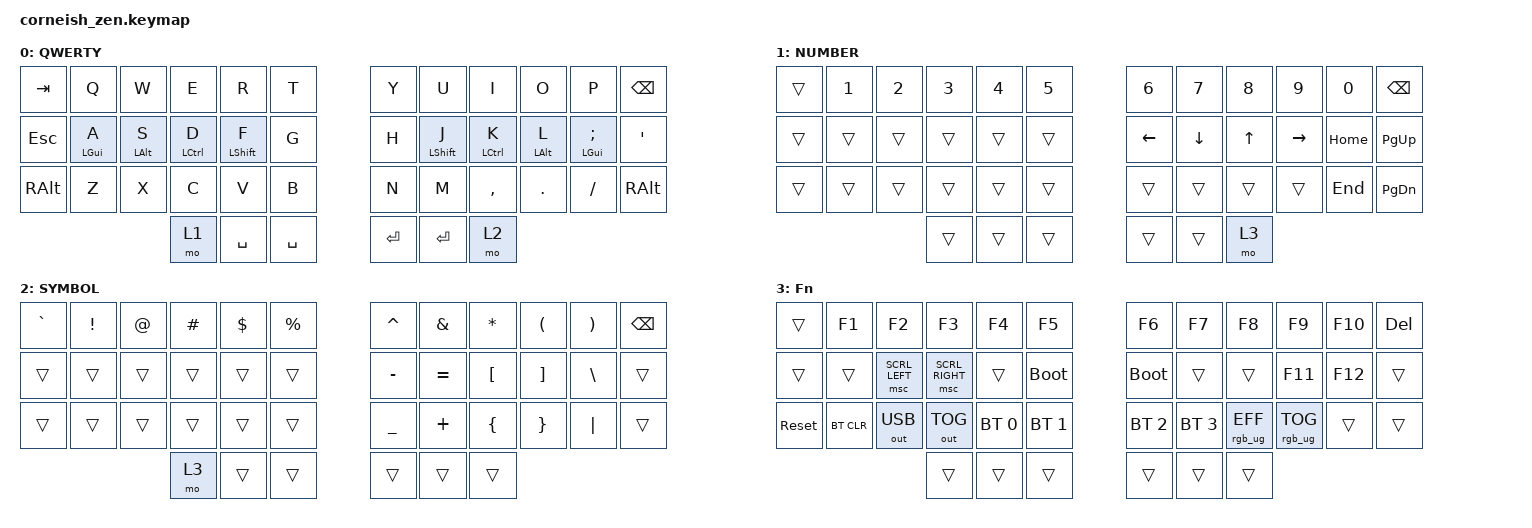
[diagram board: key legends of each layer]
/*
 * Copyright (c) 2020 The ZMK Contributors
 *
 * SPDX-License-Identifier: MIT
 */

#include <behaviors.dtsi>
#include <dt-bindings/zmk/bt.h>
#include <dt-bindings/zmk/keys.h>
#include <dt-bindings/zmk/outputs.h>
#include <dt-bindings/zmk/pointing.h>
#include <dt-bindings/zmk/rgb.h>

/ {
    chosen {
        zmk,matrix_transform = &default_transform;

        // zmk,matrix_transform = &five_column_transform;
    };
};

/ {
    behaviors {
        td0: td0 {
            compatible = "zmk,behavior-tap-dance";
            label = "TD0";
            #binding-cells = <0>;
            bindings = <&kp LEFT_SHIFT>, <&kp CAPS>;
        };

        mt_custom: mt_custom {
            compatible = "zmk,behavior-hold-tap";
            label = "Mod/Tap (Tap Preferred)";
            bindings = <&kp>, <&kp>;

            #binding-cells = <2>;
            tapping-term-ms = <200>;
            quick-tap-ms = <120>;
            flavor = "tap-preferred";
        };
    };

    keymap {
        compatible = "zmk,keymap";

        default_layer {
            display-name = "QWERTY";

            // --------------------------------------------------------------------------------
            // |  TAB |  Q  |  W  |  E  |  R  |  T  |   |  Y  |  U   |  I  |  O  |  P  | BKSP |
            // | CTRL |  A  |  S  |  D  |  F  |  G  |   |  H  |  J   |  K  |  L  |  ;  |  '   | 
            // | SHFT |  Z  |  X  |  C  |  V  |  B  |   |  N  |  M   |  ,  |  .  |  /  | ESC  |
            //                    | GUI | LWR | SPC |   | ENT | RSE  | ALT |

            bindings = <
&kp TAB        &kp Q                  &kp W                  &kp E                      &kp R                    &kp T        &kp Y      &kp U                    &kp I                      &kp O                  &kp P                     &kp BSPC
&kp ESC        &mt_custom LEFT_GUI A  &mt_custom LEFT_ALT S  &mt_custom LEFT_CONTROL D  &mt_custom LEFT_SHIFT F  &kp G        &kp H      &mt_custom LEFT_SHIFT J  &mt_custom LEFT_CONTROL K  &mt_custom LEFT_ALT L  &mt_custom LEFT_GUI SEMI  &kp SINGLE_QUOTE
&kp RIGHT_ALT  &kp Z                  &kp X                  &kp C                      &kp V                    &kp B        &kp N      &kp M                    &kp COMMA                  &kp DOT                &kp FSLH                  &kp RIGHT_ALT
                                                             &mo 1                      &kp SPACE                &kp SPACE    &kp ENTER  &kp ENTER                &mo 2
            >;
        };

        lower_layer {
            display-name = "NUMBER";

            // -----------------------------------------------------------------------------------------
            // |  TAB |  1  |  2  |  3  |  4  |  5  |   |  6  |  7  |  8  |  9  |  0  | BKSP |
            // | BTCLR| BT1 | BT2 | BT3 | BT4 | BT5 |   | LFT | DWN |  UP | RGT |     |      |
            // | SHFT |     |     |     |     |     |   |     |     |     |     |     |      |
            //                    | GUI |     | SPC |   | ENT |     | ALT |

            bindings = <
&trans  &kp N1  &kp N2  &kp N3  &kp N4  &kp N5    &kp N6    &kp N7    &kp N8  &kp N9     &kp N0    &kp BSPC
&trans  &trans  &trans  &trans  &trans  &trans    &kp LEFT  &kp DOWN  &kp UP  &kp RIGHT  &kp HOME  &kp PG_UP
&trans  &trans  &trans  &trans  &trans  &trans    &trans    &trans    &trans  &trans     &kp END   &kp PG_DN
                        &trans  &trans  &trans    &trans    &trans    &mo 3
            >;
        };

        raise_layer {
            display-name = "SYMBOL";

            // -----------------------------------------------------------------------------------------
            // |  TAB |  !  |  @  |  #  |  $  |  %  |   |  ^  |  &  |  *  |  (  |  )  | BKSP |
            // | CTRL |     |     |     |     |     |   |  -  |  =  |  [  |  ]  |  \  |  `   |
            // | SHFT |     |     |     |     |     |   |  _  |  +  |  {  |  }  | "|" |  ~   |
            //                    | GUI |     | SPC |   | ENT |     | ALT |

            bindings = <
&kp GRAVE  &kp EXCL  &kp AT  &kp HASH  &kp DLLR  &kp PRCNT    &kp CARET  &kp AMPS   &kp ASTRK  &kp LPAR  &kp RPAR  &kp BSPC
&trans     &trans    &trans  &trans    &trans    &trans       &kp MINUS  &kp EQUAL  &kp LBKT   &kp RBKT  &kp BSLH  &trans
&trans     &trans    &trans  &trans    &trans    &trans       &kp UNDER  &kp PLUS   &kp LBRC   &kp RBRC  &kp PIPE  &trans
                             &mo 3     &trans    &trans       &trans     &trans     &trans
            >;
        };

        layer_3 {
            display-name = "Fn";
            bindings = <
&trans      &kp F1      &kp F2          &kp F3           &kp F4        &kp F5          &kp F6        &kp F7        &kp F8           &kp F9           &kp F10  &kp DELETE
&trans      &trans      &msc SCRL_LEFT  &msc SCRL_RIGHT  &trans        &bootloader     &bootloader   &trans        &trans           &kp F11          &kp F12  &trans
&sys_reset  &bt BT_CLR  &out OUT_USB    &out OUT_TOG     &bt BT_SEL 0  &bt BT_SEL 1    &bt BT_SEL 2  &bt BT_SEL 3  &rgb_ug RGB_EFF  &rgb_ug RGB_TOG  &trans   &trans
                                        &trans           &trans        &trans          &trans        &trans        &trans
            >;
        };
    };
};
